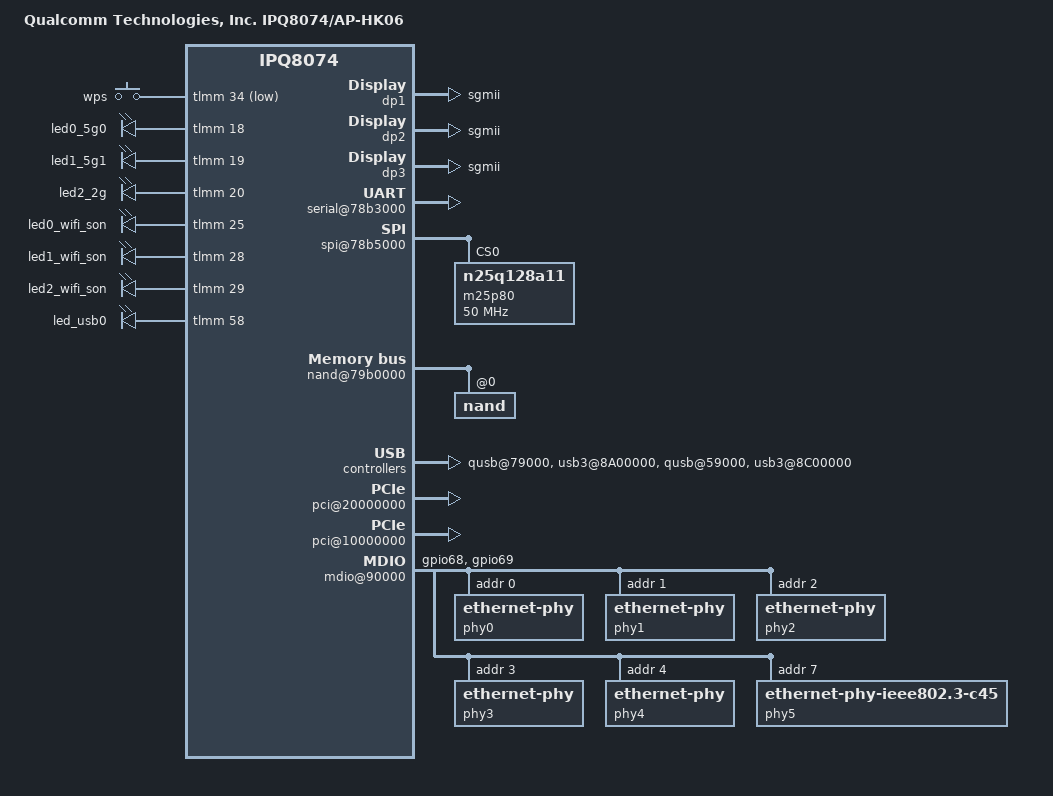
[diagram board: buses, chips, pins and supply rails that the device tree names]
// SPDX-License-Identifier: GPL-2.0-only
/dts-v1/;
/* Copyright (c) 2020 The Linux Foundation. All rights reserved.
 */
#include "ipq8074.dtsi"
#include "ipq8074-hk-cpu.dtsi"

/ {
	#address-cells = <0x2>;
	#size-cells = <0x2>;
	model = "Qualcomm Technologies, Inc. IPQ8074/AP-HK06";
	compatible = "qcom,ipq8074-ap-hk06", "qcom,ipq8074";
	qcom,msm-id = <0x158 0x0>, <0x188 0x0>;
	interrupt-parent = <&intc>;

	aliases {
		serial0 = &blsp1_uart5;
		/* Aliases as required by u-boot to patch MAC addresses */
		ethernet0 = "/soc/dp1";
		ethernet1 = "/soc/dp2";
		ethernet2 = "/soc/dp3";
	};

	chosen {
		stdout-path = "serial0";
	};

	soc {

		dp1 {
			device_type = "network";
			compatible = "qcom,nss-dp";
			qcom,id = <4>;
			reg = <0x3a001600 0x200>;
			qcom,mactype = <0>;
			local-mac-address = [000000000000];
			qcom,link-poll = <1>;
			qcom,phy-mdio-addr = <3>;
			phy-mode = "sgmii";
		};

		dp2 {
			device_type = "network";
			compatible = "qcom,nss-dp";
			qcom,id = <5>;
			reg = <0x3a001800 0x200>;
			qcom,mactype = <0>;
			local-mac-address = [000000000000];
			qcom,link-poll = <1>;
			qcom,phy-mdio-addr = <4>;
			phy-mode = "sgmii";
		};

		dp3 {
			device_type = "network";
			compatible = "qcom,nss-dp";
			qcom,id = <6>;
			reg = <0x3a007000 0x3fff>;
			qcom,mactype = <1>;
			local-mac-address = [000000000000];
			qcom,link-poll = <1>;
			qcom,phy-mdio-addr = <7>;
			phy-mode = "sgmii";
		};

		pinctrl@1000000 {
			button_pins: button_pins {
				wps_button {
					pins = "gpio34";
					function = "gpio";
					drive-strength = <8>;
					bias-pull-up;
				};
			};

			leds_pins: leds_pinmux {
				led0_5g0 {
					pins = "gpio18";
					function = "gpio";
					drive-strength = <8>;
					bias-pull-down;
				};
				led1_5g1 {
					pins = "gpio19";
					function = "gpio";
					drive-strength = <8>;
					bias-pull-down;
				};
				led2_2g {
					pins = "gpio20";
					function = "gpio";
					drive-strength = <8>;
					bias-pull-down;
				};
				led0_wifi_son {
					pins = "gpio25";
					function = "gpio";
					drive-strength = <8>;
					bias-pull-down;
				};
				led1_wifi_son {
					pins = "gpio28";
					function = "gpio";
					drive-strength = <8>;
					bias-pull-down;
				};
				led2_wifi_son {
					pins = "gpio29";
					function = "gpio";
					drive-strength = <8>;
					bias-pull-down;
				};
				led_usb0 {
					pins = "gpio58";
					function = "gpio";
					drive-strength = <8>;
					bias-pull-down;
				};
			};

			mdio_pins: mdio_pinmux {
				mux_0 {
					pins = "gpio68";
					function = "mdc";
					drive-strength = <8>;
					bias-pull-up;
				};
				mux_1 {
					pins = "gpio69";
					function = "mdio";
					drive-strength = <8>;
					bias-pull-up;
				};

			};
		};

		serial@78b3000 {
			status = "ok";
		};

		spi@78b5000 {
			status = "ok";
			pinctrl-0 = <&spi_0_pins>;
			pinctrl-names = "default";
			cs-select = <0>;

			m25p80@0 {
				  compatible = "n25q128a11";
				  #address-cells = <1>;
				  #size-cells = <1>;
				  reg = <0>;
				  spi-max-frequency = <50000000>;
			};
		};

		dma@7984000 {
			 status = "ok";
		};

		nand@79b0000 {
			status = "ok";

			nand@0 {
				reg = <0>;
				#address-cells = <1>;
				#size-cells = <1>;

				nand-ecc-strength = <4>;
				nand-ecc-step-size = <512>;
				nand-bus-width = <8>;
			};
		};

		qusb@79000 {
			status = "ok";
		};

		ssphy@78000 {
			status = "ok";
		};

		usb3@8A00000 {
			status = "ok";
		};

		qusb@59000 {
			status = "ok";
		};

		ssphy@58000 {
			status = "ok";
		};

		usb3@8C00000 {
			status = "ok";
		};

		phy@84000 {
			status = "ok";
		};

		phy@86000 {
			status = "ok";
		};

		pci@20000000 {
			perst-gpio = <&tlmm 58 1>;
			status = "ok";
		};

		phy@8e000 {
			status = "ok";
		};

		pci@10000000 {
			perst-gpio = <&tlmm 61 0x1>;
			status = "ok";
		};

		gpio_keys {
			compatible = "gpio-keys";
			pinctrl-0 = <&button_pins>;
			pinctrl-names = "default";
			status = "ok";

			button@1 {
				label = "wps";
				linux,code = <KEY_WPS_BUTTON>;
				gpios = <&tlmm 34 GPIO_ACTIVE_LOW>;
				linux,input-type = <1>;
				debounce-interval = <60>;
			};
		};

		mdio@90000 {
			pinctrl-0 = <&mdio_pins>;
			pinctrl-names = "default";
			phy-reset-gpio = <&tlmm 37 0 &tlmm 63 0>;
			phy0: ethernet-phy@0 {
				reg = <0>;
			};
			phy1: ethernet-phy@1 {
				reg = <1>;
			};
			phy2: ethernet-phy@2 {
				reg = <2>;
			};
			phy3: ethernet-phy@3 {
				reg = <3>;
			};
			phy4: ethernet-phy@4 {
				reg = <4>;
			};
			phy5: ethernet-phy@5 {
				compatible ="ethernet-phy-ieee802.3-c45";
				reg = <7>;
			};
		};

		ess-switch@3a000000 {
			switch_cpu_bmp = <0x1>;  /* cpu port bitmap */
			switch_lan_bmp = <0x3e>; /* lan port bitmap */
			switch_wan_bmp = <0x40>; /* wan port bitmap */
			switch_mac_mode = <0x0>; /* mac mode for uniphy instance0*/
			switch_mac_mode1 = <0xff>; /* mac mode for uniphy instance1*/
			switch_mac_mode2 = <0xd>; /* mac mode for uniphy instance2*/
			bm_tick_mode = <0>; /* bm tick mode */
			tm_tick_mode = <0>; /* tm tick mode */
		};
		leds {
			compatible = "gpio-leds";
			pinctrl-0 = <&leds_pins>;
			pinctrl-names = "default";

			led@18 {
				label = "led0_5g0";
				gpios = <&tlmm 18 GPIO_ACTIVE_HIGH>;
				linux,default-trigger = "led_5g0";
				default-state = "off";
			};

			led@19 {
				label = "led1_5g1";
				gpios = <&tlmm 19 GPIO_ACTIVE_HIGH>;
				linux,default-trigger = "led_5g1";
				default-state = "off";
			};

			led@20 {
				label = "led2_2g";
				gpios = <&tlmm 20 GPIO_ACTIVE_HIGH>;
				linux,default-trigger = "led_2g";
				default-state = "off";
			};

			led@25 {
				label = "led0_wifi_son";
				gpios = <&tlmm 25 GPIO_ACTIVE_HIGH>;
				linux,default-trigger = "led_wifi_son_0";
				default-state = "off";
			};

			led@28 {
				label = "led1_wifi_son";
				gpios = <&tlmm 28 GPIO_ACTIVE_HIGH>;
				linux,default-trigger = "led_wifi_son_1";
				default-state = "off";
			};

			led@29 {
				label = "led2_wifi_son";
				gpios = <&tlmm 29 GPIO_ACTIVE_HIGH>;
				linux,default-trigger = "led_wifi_son_2";
				default-state = "off";
			};

			led@58 {
				label = "led_usb0";
				gpios = <&tlmm 58 GPIO_ACTIVE_HIGH>;
				linux,default-trigger = "led_usb";
				default-state = "off";
			};
		};
	};
};
